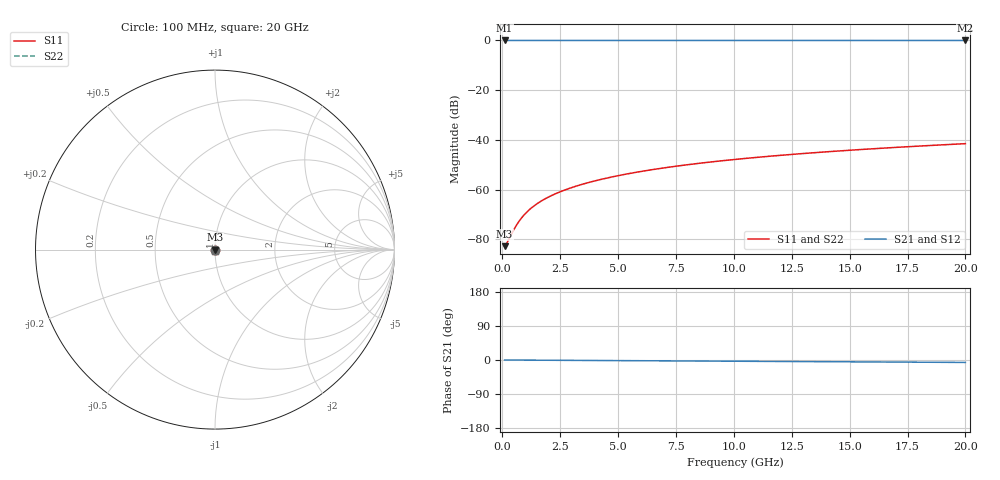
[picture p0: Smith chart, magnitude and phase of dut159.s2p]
! Touchstone file exported from HFSS 2026.1.0
!  File:  C:/ffzhzh/LocalFiles/Ansys_Project_Files/temp_train_TSV_159_1782990797_41620.aedt
!  Generated:  07:14:41 PM Jul  2, 2026
!  Design:  TSV
!  Project:  temp_train_TSV_159_1782990797_41620
! Variables:
!  h_bsmrdl = 2um
!  h_ox = 20um
!  h_rdl = 5um
!  h_sub = 61.3um
!  h_tmrdl = 5um
!  h_tsv = 61.3um
!  h_via = 3um
!  l_bsmrdl = 300um
!  l_sub = 426.06um
!  l_tmrdl = 200um
!  m_sub = 200um
!  pitch = 48.02um
!  r_tsv = 13.03um
!  s_tmrdl = 10um
!  w_bsmrdl = 18um
!  w_sub = 500um
!  w_tmrdl = 12um
!  x_tsv_center1 = 206um
!  x_tsv_center2 = 524um
!  x_tsv_center3 = 736um
!  x_tsv_center4 = 1054um
!  x_tsv_center5 = 1266um
!  x_tsv_center6 = 1584um
# GHz S MA R 50.000000
! Terminal data exported
! Port[1] = TSV1_1_T1
! Port[2] = TSV1_1_T2
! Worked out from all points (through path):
!   200 points, 100 MHz to 20 GHz, reference 50 ohm
!   highest |S21| = 0.00 dB at 100 MHz (marker M1); lowest = 0.0 dB at 20 GHz (marker M2)
!   lowest |S11| = -82.7 dB at 100 MHz (marker M3), VSWR 1.00, Z = 50 - j0.000867 ohm
!   |S11| at or under -10 dB: start of sweep to end of sweep
!   |S22| runs from -82.7 to -41.5 dB; largest |S21 - S12| = 3.4e-15
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0.1  7.314e-05 -6.8  0.9999 -0.0  0.9999 -0.0  7.314e-05 -6.8
! Gamma 0 0 0 0
! Port Impedance 50 0 50 0
0.2  8.521e-05 -13.5  0.9999 -0.1  0.9999 -0.1  8.521e-05 -13.5
0.3  0.0001042 -20.1  0.9999 -0.1  0.9999 -0.1  0.0001042 -20.1
0.5  0.0001576 -31.6  0.9999 -0.2  0.9999 -0.2  0.0001576 -31.6
0.6  0.0001894 -36.5  0.9998 -0.2  0.9998 -0.2  0.0001894 -36.5
0.8  0.0002588 -44.7  0.9998 -0.3  0.9998 -0.3  0.0002588 -44.7
1.1  0.0003697 -53.5  0.9998 -0.4  0.9998 -0.4  0.0003697 -53.5
1.3  0.0004453 -57.7  0.9998 -0.4  0.9998 -0.4  0.0004453 -57.7
1.5  0.0005216 -61.1  0.9997 -0.5  0.9997 -0.5  0.0005216 -61.1
1.9  0.000675 -65.9  0.9997 -0.6  0.9997 -0.6  0.000675 -65.9
2.4  0.0008685 -69.9  0.9997 -0.8  0.9997 -0.8  0.0008685 -69.9
2.9  0.001064 -72.6  0.9997 -0.9  0.9997 -0.9  0.001064 -72.6
3.5  0.001302 -74.9  0.9996 -1.1  0.9996 -1.1  0.001302 -74.9
4.2  0.001584 -76.8  0.9996 -1.4  0.9996 -1.4  0.001584 -76.8
5  0.001912 -78.4  0.9996 -1.6  0.9996 -1.6  0.001912 -78.4
5.9  0.002286 -79.9  0.9995 -1.9  0.9995 -1.9  0.002286 -79.9
6.8  0.002665 -81.1  0.9995 -2.2  0.9995 -2.2  0.002665 -81.1
8.3  0.003304 -82.8  0.9994 -2.7  0.9994 -2.7  0.003304 -82.8
10.1  0.004078 -84.4  0.9994 -3.2  0.9994 -3.2  0.004078 -84.4
13.4  0.005509 -86.9  0.9993 -4.3  0.9993 -4.3  0.005509 -86.9
16.7  0.006953 -88.8  0.9992 -5.4  0.9992 -5.4  0.006953 -88.8
20  0.008416 -90.4  0.9991 -6.4  0.9991 -6.4  0.008416 -90.4
